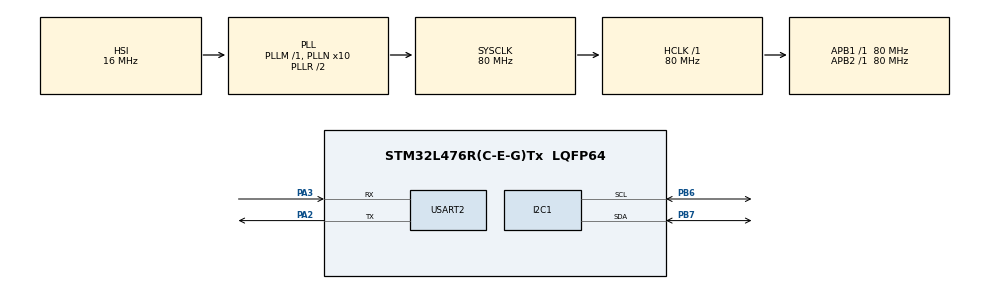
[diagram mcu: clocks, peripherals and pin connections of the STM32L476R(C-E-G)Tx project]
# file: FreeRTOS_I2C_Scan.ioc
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FREERTOS.Mutexes01=FIFO_Key,Dynamic,NULL,Available
FREERTOS.Tasks01=ScanI2C_Task,24,128,StartI2CTask,Default,NULL,Dynamic,NULL,NULL;PrintUART_Task,24,128,StartUART_Task,Default,NULL,Dynamic,NULL,NULL
FREERTOS.configUSE_NEWLIB_REENTRANT=1
I2C1.Timing=0x10D19CE4
Mcu.Family=STM32L4
Mcu.Name=STM32L476R(C-E-G)Tx
Mcu.Package=LQFP64
NVIC.PriorityGroup=NVIC_PRIORITYGROUP_4
NVIC.TIM6_DAC_IRQn=true\:15\:0\:false\:false\:true\:false\:false\:true\:true
NVIC.TimeBase=TIM6_DAC_IRQn
NVIC.TimeBaseIP=TIM6
PA2.Mode=Asynchronous
PA2.Signal=USART2_TX
PA3.Mode=Asynchronous
PA3.Signal=USART2_RX
PB6.Mode=I2C
PB6.Signal=I2C1_SCL
PB7.Mode=I2C
PB7.Signal=I2C1_SDA
ProjectManager.HeapSize=0x200
ProjectManager.StackSize=0x400
ProjectManager.TargetToolchain=STM32CubeIDE
RCC.ADCFreq_Value=64000000
RCC.AHBFreq_Value=80000000
RCC.APB1Freq_Value=80000000
RCC.APB1TimFreq_Value=80000000
RCC.APB2Freq_Value=80000000
RCC.APB2TimFreq_Value=80000000
RCC.CortexFreq_Value=80000000
RCC.HCLKFreq_Value=80000000
RCC.HSE_VALUE=8000000
RCC.HSI_VALUE=16000000
RCC.LSE_VALUE=32768
RCC.MSI_VALUE=4000000
RCC.PLLN=10
RCC.PLLSourceVirtual=RCC_PLLSOURCE_HSI
RCC.SYSCLKFreq_VALUE=80000000
RCC.SYSCLKSource=RCC_SYSCLKSOURCE_PLLCLK
RCC.USBFreq_Value=64000000
RCC.VCOOutputFreq_Value=160000000
USART2.VirtualMode-Asynchronous=VM_ASYNC
VP_FREERTOS_VS_CMSIS_V2.Mode=CMSIS_V2
VP_SYS_VS_tim6.Mode=TIM6
board=custom

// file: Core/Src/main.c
/* USER CODE BEGIN Header */
/**
  ******************************************************************************
  * @file           : main.c
  * @brief          : Main program body
  ******************************************************************************
  * @attention
  *
  * Copyright (c) 2026 STMicroelectronics.
  * All rights reserved.
  *
  * This software is licensed under terms that can be found in the LICENSE file
  * in the root directory of this software component.
  * If no LICENSE file comes with this software, it is provided AS-IS.
  *
  ******************************************************************************
  */
/* USER CODE END Header */
#include "main.h"
#include "cmsis_os.h"

/* USER CODE BEGIN Includes */
#include <stdio.h>
#include <string.h>
/* USER CODE END Includes */

I2C_HandleTypeDef hi2c1;

UART_HandleTypeDef huart2;

/* Definitions for ScanI2C_Task */
osThreadId_t ScanI2C_TaskHandle;
const osThreadAttr_t ScanI2C_Task_attributes = {
  .name = "ScanI2C_Task",
  .stack_size = 128 * 4,
  .priority = (osPriority_t) osPriorityNormal,
};

void SystemClock_Config(void);
static void MX_GPIO_Init(void);
static void MX_I2C1_Init(void);
static void MX_USART2_UART_Init(void);
void StartI2CTask(void *argument);

/* USER CODE BEGIN PFP */
static void uart_print(const char *);
static void i2c_scan_bus(void);
/* USER CODE END PFP */

int main(void)
{

  /* MCU Configuration--------------------------------------------------------*/

  /* Reset of all peripherals, Initializes the Flash interface and the Systick. */
  HAL_Init();

  /* Configure the system clock */
  SystemClock_Config();

  /* Initialize all configured peripherals */
  MX_GPIO_Init();
  MX_I2C1_Init();
  MX_USART2_UART_Init();

  /* Init scheduler */
  osKernelInitialize();
  /* Create the mutex(es) */
  /* creation of FIFO_Key */

  /* Create the thread(s) */
  /* creation of ScanI2C_Task */
  ScanI2C_TaskHandle = osThreadNew(StartI2CTask, NULL, &ScanI2C_Task_attributes);

  /* creation of PrintUART_Task */

  /* Start scheduler */
  osKernelStart();

  /* We should never get here as control is now taken by the scheduler */

  /* Infinite loop */
  while (1)
  {

  }
}

void SystemClock_Config(void)
{
  RCC_OscInitTypeDef RCC_OscInitStruct = {0};
  RCC_ClkInitTypeDef RCC_ClkInitStruct = {0};

  /** Configure the main internal regulator output voltage
  */
  if (HAL_PWREx_ControlVoltageScaling(PWR_REGULATOR_VOLTAGE_SCALE1) != HAL_OK)
  {
    Error_Handler();
  }

  /** Initializes the RCC Oscillators according to the specified parameters
  * in the RCC_OscInitTypeDef structure.
  */
  RCC_OscInitStruct.OscillatorType = RCC_OSCILLATORTYPE_HSI;
  RCC_OscInitStruct.HSIState = RCC_HSI_ON;
  RCC_OscInitStruct.HSICalibrationValue = RCC_HSICALIBRATION_DEFAULT;
  RCC_OscInitStruct.PLL.PLLState = RCC_PLL_ON;
  RCC_OscInitStruct.PLL.PLLSource = RCC_PLLSOURCE_HSI;
  RCC_OscInitStruct.PLL.PLLM = 1;
  RCC_OscInitStruct.PLL.PLLN = 10;
  RCC_OscInitStruct.PLL.PLLP = RCC_PLLP_DIV7;
  RCC_OscInitStruct.PLL.PLLQ = RCC_PLLQ_DIV2;
  RCC_OscInitStruct.PLL.PLLR = RCC_PLLR_DIV2;
  if (HAL_RCC_OscConfig(&RCC_OscInitStruct) != HAL_OK)
  {
    Error_Handler();
  }

  /** Initializes the CPU, AHB and APB buses clocks
  */
  RCC_ClkInitStruct.ClockType = RCC_CLOCKTYPE_HCLK|RCC_CLOCKTYPE_SYSCLK
                              |RCC_CLOCKTYPE_PCLK1|RCC_CLOCKTYPE_PCLK2;
  RCC_ClkInitStruct.SYSCLKSource = RCC_SYSCLKSOURCE_PLLCLK;
  RCC_ClkInitStruct.AHBCLKDivider = RCC_SYSCLK_DIV1;
  RCC_ClkInitStruct.APB1CLKDivider = RCC_HCLK_DIV1;
  RCC_ClkInitStruct.APB2CLKDivider = RCC_HCLK_DIV1;

  if (HAL_RCC_ClockConfig(&RCC_ClkInitStruct, FLASH_LATENCY_4) != HAL_OK)
  {
    Error_Handler();
  }
}

static void MX_I2C1_Init(void)
{

  hi2c1.Instance = I2C1;
  hi2c1.Init.Timing = 0x10D19CE4;
  hi2c1.Init.OwnAddress1 = 0;
  hi2c1.Init.AddressingMode = I2C_ADDRESSINGMODE_7BIT;
  hi2c1.Init.DualAddressMode = I2C_DUALADDRESS_DISABLE;
  hi2c1.Init.OwnAddress2 = 0;
  hi2c1.Init.OwnAddress2Masks = I2C_OA2_NOMASK;
  hi2c1.Init.GeneralCallMode = I2C_GENERALCALL_DISABLE;
  hi2c1.Init.NoStretchMode = I2C_NOSTRETCH_DISABLE;
  if (HAL_I2C_Init(&hi2c1) != HAL_OK)
  {
    Error_Handler();
  }

  /** Configure Analogue filter
  */
  if (HAL_I2CEx_ConfigAnalogFilter(&hi2c1, I2C_ANALOGFILTER_ENABLE) != HAL_OK)
  {
    Error_Handler();
  }

  /** Configure Digital filter
  */
  if (HAL_I2CEx_ConfigDigitalFilter(&hi2c1, 0) != HAL_OK)
  {
    Error_Handler();
  }

}

static void MX_USART2_UART_Init(void)
{

  huart2.Instance = USART2;
  huart2.Init.BaudRate = 115200;
  huart2.Init.WordLength = UART_WORDLENGTH_8B;
  huart2.Init.StopBits = UART_STOPBITS_1;
  huart2.Init.Parity = UART_PARITY_NONE;
  huart2.Init.Mode = UART_MODE_TX_RX;
  huart2.Init.HwFlowCtl = UART_HWCONTROL_NONE;
  huart2.Init.OverSampling = UART_OVERSAMPLING_16;
  huart2.Init.OneBitSampling = UART_ONE_BIT_SAMPLE_DISABLE;
  huart2.AdvancedInit.AdvFeatureInit = UART_ADVFEATURE_NO_INIT;
  if (HAL_UART_Init(&huart2) != HAL_OK)
  {
    Error_Handler();
  }

}

static void MX_GPIO_Init(void)
{

  /* GPIO Ports Clock Enable */
  __HAL_RCC_GPIOA_CLK_ENABLE();
  __HAL_RCC_GPIOB_CLK_ENABLE();

}

/* USER CODE BEGIN 4 */
static void uart_print(const char *msg){
	HAL_UART_Transmit(&huart2, (uint8_t *)msg, strlen(msg), HAL_MAX_DELAY);
}

static void i2c_scan_bus(void){
    char msg[64];
    uint8_t found = 0;

    uart_print("\r\nScanning I2C bus...\r\n");

    for (uint8_t addr = 1; addr < 128; addr++)
    {
        if (HAL_I2C_IsDeviceReady(&hi2c1, (uint16_t)(addr << 1), 2, 10) == HAL_OK)
        {
            snprintf(msg, sizeof(msg), "Found device at 0x%02X\r\n", addr);
            uart_print(msg);
            found++;
        }
    }

    snprintf(msg, sizeof(msg), "Scan complete. %u device(s) found.\r\n\r\n", found);
    uart_print(msg);
}
/* USER CODE END 4 */

void StartI2CTask(void *argument)
{
  /* USER CODE BEGIN 5 */
  /* Infinite loop */
  i2c_scan_bus();
  for(;;)
  {
    osDelay(2000);
  }
  /* USER CODE END 5 */
}

void HAL_TIM_PeriodElapsedCallback(TIM_HandleTypeDef *htim)
{
  if (htim->Instance == TIM6)
  {
    HAL_IncTick();
  }
}

void Error_Handler(void)
{
  /* USER CODE BEGIN Error_Handler_Debug */
  /* User can add his own implementation to report the HAL error return state */
  uart_print("Error_Handler reached\r\n");
  __disable_irq();
  while (1)
  {
  }
  /* USER CODE END Error_Handler_Debug */
}
